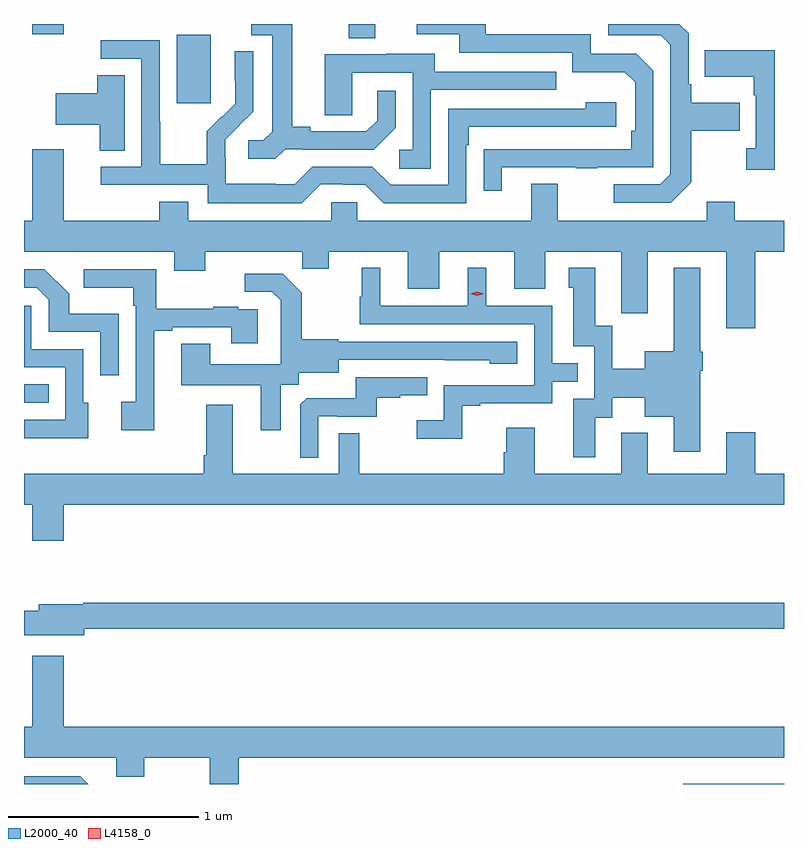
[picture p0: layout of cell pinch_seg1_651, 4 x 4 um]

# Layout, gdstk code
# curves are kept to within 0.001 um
import gdstk
lib = gdstk.Library(unit=1e-6, precision=1e-09)
def R(c, l, rs):  # rectangles x0, y0, x1, y1
    for r in rs: c.add(gdstk.rectangle(r[:2], r[2:], *l))
def P(c, l, *ps):  # polygons
    for p in ps: c.add(gdstk.Polygon(p, *l))
L2000_40 = (2000, 40)
L4158_0 = (4158, 0)

pinch_seg1_651 = lib.new_cell('pinch_seg1_651')
R(pinch_seg1_651, L2000_40, [(815.787,572.907,816.316,572.908), (812.316,574.914,812.447,575.01), (813.119,576.489,813.298,576.85), (814.025,576.832,814.165,576.907), (812.36,576.852,812.524,576.907)])
P(pinch_seg1_651, L2000_40, [(813.69,576.249),(813.784,576.249),(813.784,576.246),(814.156,576.246),(814.272,576.362),(814.272,576.556),(814.175,576.556),(814.175,576.399),(814.118,576.342),(813.823,576.342),(813.823,576.365),(813.727,576.365),(813.727,576.907),(813.513,576.907),(813.513,576.849),(813.623,576.849),(813.623,576.341),(813.576,576.294),(813.495,576.294),(813.495,576.197),(813.638,576.197)],
  [(815.827,576.073),(815.827,576.346),(816.083,576.346),(816.083,576.493),(815.827,576.493),(815.827,576.589),(815.814,576.589),(815.814,576.858),(815.765,576.907),(815.391,576.907),(815.391,576.849),(815.667,576.849),(815.718,576.798),(815.718,576.117),(815.664,576.063),(815.421,576.063),(815.421,575.967),(815.721,575.967)],
  [(814.831,576.153),(815.221,576.153),(815.221,576.148),(815.333,576.148),(815.333,576.153),(815.628,576.153),(815.628,576.66),(815.538,576.75),(815.298,576.75),(815.298,576.852),(814.747,576.852),(814.747,576.907),(814.383,576.907),(814.383,576.852),(814.607,576.852),(814.607,576.756),(815.202,576.756),(815.202,576.653),(815.479,576.653),(815.532,576.6),(815.532,576.346),(815.512,576.346),(815.512,576.249),(814.735,576.248),(814.735,576.03),(814.831,576.03)],
  [(813.879,576.063),(813.995,576.063),(813.995,576.06),(814.113,576.06),(814.209,575.964),(814.644,575.964),(814.644,576.269),(814.657,576.269),(814.657,576.366),(815.434,576.366),(815.434,576.496),(815.273,576.496),(815.273,576.462),(814.548,576.462),(814.548,576.06),(814.245,576.06),(814.149,576.156),(813.834,576.156),(813.741,576.063),(813.641,576.063),(813.641,576.067),(813.378,576.067),(813.378,576.201),(813.376,576.201),(813.376,576.298),(813.522,576.446),(813.522,576.764),(813.426,576.764),(813.426,576.61),(813.428,576.61),(813.428,576.488),(813.357,576.417),(813.354,576.42),(813.277,576.343),(813.277,576.169),(813.033,576.169),(813.033,576.392),(813.03,576.392),(813.03,576.822),(812.721,576.822),(812.721,576.723),(812.934,576.723),(812.934,576.156),(812.721,576.156),(812.721,576.06),(813.282,576.06),(813.282,575.963),(813.779,575.963)],
  [(816.266,576.769),(815.899,576.769),(815.899,576.629),(816.156,576.629),(816.156,576.533),(816.168,576.533),(816.168,576.254),(816.117,576.254),(816.117,576.141),(816.266,576.141)],
  [(814.458,576.561),(815.117,576.561),(815.117,576.657),(814.477,576.657),(814.477,576.751),(814.223,576.751),(814.223,576.747),(813.899,576.747),(813.899,576.427),(814.044,576.427),(814.044,576.651),(814.362,576.651),(814.362,576.246),(814.29,576.246),(814.29,576.145),(814.458,576.145)],
  [(812.845,576.638),(812.702,576.638),(812.702,576.543),(812.484,576.543),(812.484,576.377),(812.714,576.377),(812.714,576.241),(812.845,576.241)],
  [(816.164,575.708),(816.316,575.708),(816.316,575.872),(816.057,575.872),(816.057,575.971),(815.909,575.971),(815.909,575.872),(815.125,575.872),(815.125,576.067),(814.985,576.067),(814.985,575.872),(814.071,575.872),(814.071,575.97),(813.933,575.97),(813.933,575.872),(813.181,575.872),(813.181,575.971),(813.029,575.971),(813.029,575.872),(812.524,575.872),(812.524,576.247),(812.36,576.247),(812.36,575.872),(812.316,575.872),(812.316,575.708),(813.107,575.708),(813.107,575.609),(813.271,575.609),(813.271,575.708),(813.781,575.708),(813.781,575.618),(813.919,575.618),(813.919,575.708),(814.337,575.708),(814.337,575.514),(814.501,575.514),(814.501,575.708),(814.895,575.708),(814.895,575.514),(815.059,575.514),(815.059,575.708),(815.459,575.708),(815.459,575.497),(815.46,575.497),(815.46,575.385),(815.599,575.385),(815.599,575.708),(816.011,575.708),(816.011,575.307),(816.164,575.307)],
  [(814.623,574.899),(814.717,574.899),(814.717,574.911),(815.097,574.911),(815.097,575.025),(815.231,575.025),(815.231,575.121),(815.097,575.121),(815.097,575.424),(814.75,575.424),(814.75,575.623),(814.652,575.623),(814.652,575.424),(814.192,575.424),(814.192,575.623),(814.094,575.623),(814.094,575.472),(814.083,575.472),(814.083,575.328),(815.001,575.328),(815.001,575.007),(814.524,575.007),(814.524,574.822),(814.383,574.822),(814.383,574.724),(814.623,574.724)],
  [(815.323,574.834),(815.413,574.834),(815.413,574.94),(815.582,574.94),(815.582,574.841),(815.735,574.841),(815.735,574.656),(815.875,574.656),(815.875,575.081),(815.888,575.081),(815.888,575.181),(815.875,575.181),(815.875,575.623),(815.735,575.623),(815.735,575.185),(815.582,575.185),(815.582,575.092),(815.412,575.092),(815.412,575.319),(815.323,575.319),(815.323,575.623),(815.183,575.623),(815.183,575.52),(815.207,575.52),(815.207,575.211),(815.316,575.211),(815.316,574.935),(815.207,574.935),(815.207,574.626),(815.323,574.626)],
  [(812.814,575.383),(812.553,575.383),(812.553,575.486),(812.422,575.616),(812.316,575.616),(812.316,575.52),(812.382,575.52),(812.445,575.457),(812.445,575.286),(812.718,575.286),(812.718,575.058),(812.814,575.058)],
  [(813.001,575.292),(813.097,575.292),(813.097,575.31),(813.407,575.31),(813.407,575.226),(813.547,575.226),(813.547,575.406),(813.443,575.406),(813.443,575.419),(813.311,575.419),(813.311,575.408),(813.013,575.408),(813.013,575.616),(812.631,575.616),(812.631,575.519),(812.892,575.519),(812.892,575.423),(812.904,575.423),(812.904,574.918),(812.829,574.918),(812.829,574.77),(813.001,574.77)],
  [(813.667,575.008),(813.762,575.008),(813.762,575.072),(813.973,575.072),(813.973,575.139),(814.767,575.138),(814.767,575.12),(814.912,575.12),(814.912,575.235),(813.969,575.235),(813.969,575.248),(813.777,575.248),(813.777,575.493),(813.677,575.593),(813.477,575.593),(813.477,575.499),(813.621,575.499),(813.668,575.452),(813.668,575.357),(813.666,575.357),(813.666,575.116),(813.295,575.116),(813.295,575.225),(813.143,575.225),(813.143,575.006),(813.563,575.006),(813.563,574.77),(813.667,574.77)],
  [(812.653,574.914),(812.628,574.914),(812.628,575.196),(812.355,575.196),(812.355,575.425),(812.316,575.425),(812.316,575.1),(812.532,575.1),(812.532,574.824),(812.316,574.824),(812.316,574.728),(812.435,574.728),(812.435,574.727),(812.653,574.727)],
  [(813.864,574.842),(813.964,574.842),(813.964,574.839),(814.172,574.839),(814.172,574.941),(814.295,574.941),(814.295,574.952),(814.439,574.952),(814.439,575.049),(814.062,575.049),(814.062,574.937),(813.803,574.937),(813.771,574.905),(813.771,574.625),(813.864,574.625)],
  [(812.524,574.376),(816.316,574.376),(816.316,574.54),(816.164,574.54),(816.164,574.759),(816.011,574.759),(816.011,574.54),(815.599,574.54),(815.599,574.756),(815.459,574.756),(815.459,574.54),(815.005,574.54),(815.005,574.783),(814.853,574.783),(814.853,574.653),(814.841,574.653),(814.841,574.54),(814.081,574.54),(814.081,574.754),(813.972,574.754),(813.972,574.54),(813.415,574.54),(813.415,574.903),(813.275,574.903),(813.275,574.636),(813.263,574.636),(813.263,574.54),(812.316,574.54),(812.316,574.376),(812.36,574.376),(812.36,574.188),(812.524,574.188)],
  [(812.632,573.724),(816.316,573.724),(816.316,573.86),(812.628,573.86),(812.628,573.853),(812.393,573.853),(812.393,573.819),(812.316,573.819),(812.316,573.689),(812.632,573.689)],
  [(813.446,573.044),(816.316,573.044),(816.316,573.208),(812.524,573.208),(812.524,573.583),(812.36,573.583),(812.36,573.208),(812.316,573.208),(812.316,573.044),(812.801,573.044),(812.801,572.945),(812.949,572.945),(812.949,573.044),(813.293,573.044),(813.293,572.907),(813.446,572.907)],
  [(812.613,572.949),(812.316,572.949),(812.316,572.907),(812.655,572.907)])
P(pinch_seg1_651, L4158_0, [(814.701,575.477),(814.665,575.488),(814.665,575.488),(814.665,575.488),(814.701,575.497),(814.737,575.486),(814.737,575.486),(814.737,575.486)])

lib.write_gds('pinch_seg1_651.gds')
